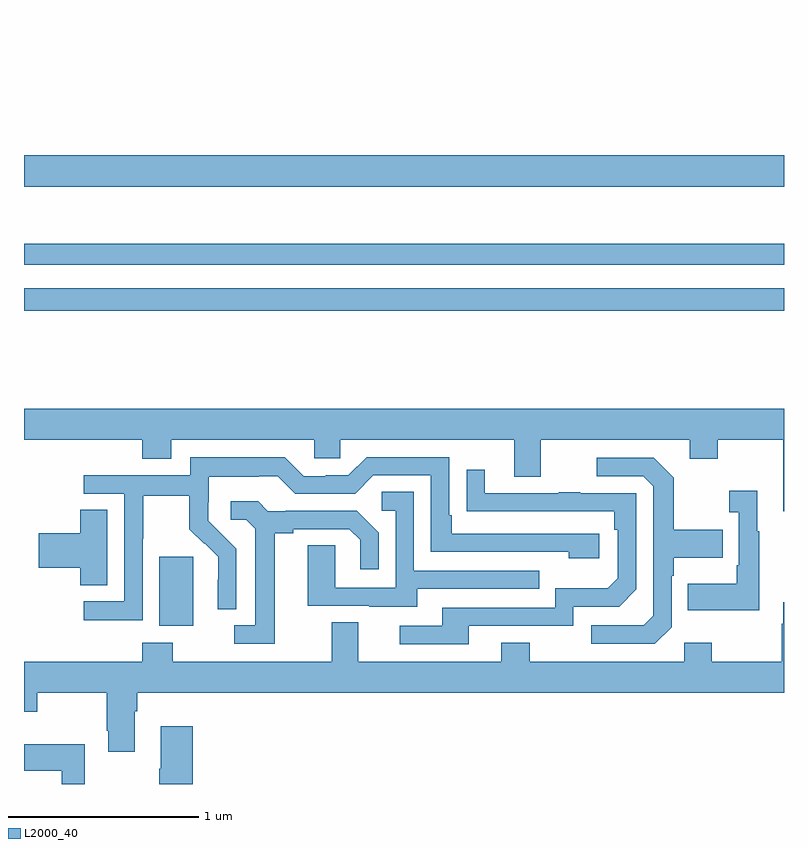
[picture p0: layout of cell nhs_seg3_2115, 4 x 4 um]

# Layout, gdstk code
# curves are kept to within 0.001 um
import gdstk
lib = gdstk.Library(unit=1e-6, precision=1e-09)
def R(c, l, rs):  # rectangles x0, y0, x1, y1
    for r in rs: c.add(gdstk.rectangle(r[:2], r[2:], *l))
def P(c, l, *ps):  # polygons
    for p in ps: c.add(gdstk.Polygon(p, *l))
L2000_40 = (2000, 40)

nhs_seg3_2115 = lib.new_cell('nhs_seg3_2115')
R(nhs_seg3_2115, L2000_40, [(219.713,737.234,219.892,737.595), (219,738.892,223,739.008), (219,739.134,223,739.243), (219,739.544,223,739.708), (219.734,740.399,220.123,740.4)])
P(nhs_seg3_2115, L2000_40, [(223,738.376),(219,738.376),(219,738.212),(219.623,738.212),(219.623,738.113),(219.775,738.113),(219.775,738.212),(220.527,738.212),(220.527,738.114),(220.665,738.114),(220.665,738.212),(221.579,738.212),(221.579,738.018),(221.719,738.018),(221.719,738.212),(222.503,738.212),(222.503,738.113),(222.651,738.113),(222.651,738.212),(222.995,738.212),(222.995,737.835),(223,737.835)],
  [(219.624,737.692),(219.627,737.692),(219.627,737.916),(219.871,737.916),(219.871,737.741),(219.948,737.664),(219.951,737.667),(220.022,737.597),(220.022,737.474),(220.02,737.474),(220.02,737.32),(220.116,737.32),(220.116,737.638),(219.97,737.786),(219.97,737.883),(219.972,737.883),(219.972,738.017),(220.235,738.017),(220.235,738.021),(220.335,738.021),(220.428,737.928),(220.743,737.928),(220.839,738.024),(221.142,738.024),(221.142,737.622),(221.867,737.622),(221.867,737.588),(222.028,737.588),(222.028,737.718),(221.251,737.718),(221.251,737.815),(221.238,737.815),(221.238,738.12),(220.803,738.12),(220.707,738.024),(220.589,738.024),(220.589,738.021),(220.473,738.021),(220.373,738.121),(219.876,738.121),(219.876,738.024),(219.315,738.024),(219.315,737.928),(219.528,737.928),(219.528,737.361),(219.315,737.361),(219.315,737.263),(219.624,737.263)],
  [(222.408,737.226),(222.408,737.495),(222.421,737.495),(222.421,737.591),(222.677,737.591),(222.677,737.739),(222.421,737.739),(222.421,738.011),(222.315,738.117),(222.015,738.117),(222.015,738.021),(222.258,738.021),(222.312,737.967),(222.312,737.286),(222.261,737.235),(221.985,737.235),(221.985,737.139),(222.321,737.139)],
  [(221.341,737.232),(221.892,737.232),(221.892,737.334),(222.132,737.334),(222.222,737.424),(222.222,737.931),(221.927,737.931),(221.927,737.936),(221.815,737.936),(221.815,737.931),(221.425,737.931),(221.425,738.055),(221.329,738.055),(221.329,737.836),(222.106,737.835),(222.106,737.738),(222.126,737.738),(222.126,737.484),(222.073,737.431),(221.796,737.431),(221.796,737.328),(221.201,737.328),(221.201,737.232),(220.977,737.232),(220.977,737.136),(221.341,737.136)],
  [(222.871,737.731),(222.859,737.731),(222.859,737.944),(222.711,737.944),(222.711,737.831),(222.762,737.831),(222.762,737.551),(222.75,737.551),(222.75,737.455),(222.493,737.455),(222.493,737.315),(222.871,737.315)],
  [(221.071,737.427),(221.711,737.427),(221.711,737.523),(221.052,737.523),(221.052,737.939),(220.884,737.939),(220.884,737.838),(220.956,737.838),(220.956,737.433),(220.638,737.433),(220.638,737.657),(220.493,737.657),(220.493,737.337),(220.817,737.337),(220.817,737.333),(221.071,737.333)],
  [(220.321,737.72),(220.417,737.72),(220.417,737.742),(220.712,737.742),(220.769,737.685),(220.769,737.529),(220.866,737.529),(220.866,737.722),(220.75,737.838),(220.378,737.838),(220.378,737.835),(220.284,737.835),(220.232,737.887),(220.089,737.887),(220.089,737.79),(220.17,737.79),(220.217,737.743),(220.217,737.235),(220.107,737.235),(220.107,737.139),(220.321,737.139)],
  [(219.439,737.843),(219.296,737.843),(219.296,737.72),(219.078,737.72),(219.078,737.537),(219.296,737.537),(219.296,737.446),(219.439,737.446)],
  [(219.583,736.784),(219.596,736.784),(219.596,736.88),(223,736.88),(223,737.356),(222.995,737.356),(222.995,737.243),(222.988,737.243),(222.988,737.044),(222.621,737.044),(222.621,737.143),(222.474,737.143),(222.474,737.044),(221.661,737.044),(221.661,737.143),(221.513,737.143),(221.513,737.044),(220.759,737.044),(220.759,737.252),(220.619,737.252),(220.619,737.044),(219.783,737.044),(219.783,737.143),(219.623,737.143),(219.623,737.044),(219,737.044),(219,736.781),(219.069,736.781),(219.069,736.88),(219.436,736.88),(219.436,736.681),(219.443,736.681),(219.443,736.569),(219.583,736.569)],
  [(219.887,736.705),(219.719,736.705),(219.719,736.481),(219.712,736.481),(219.712,736.4),(219.887,736.4)],
  [(219.319,736.609),(219,736.609),(219,736.469),(219.198,736.469),(219.198,736.4),(219.319,736.4)])

lib.write_gds('nhs_seg3_2115.gds')
